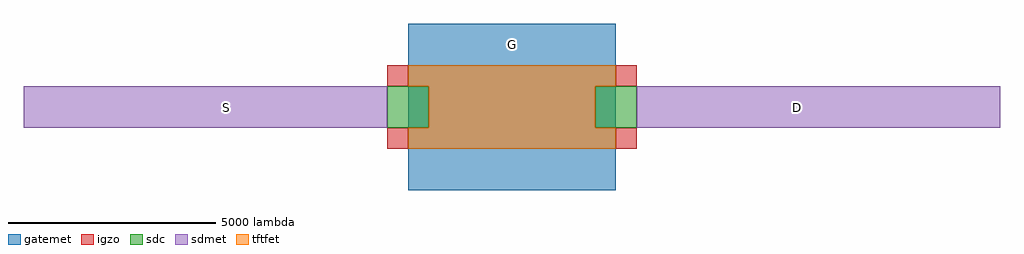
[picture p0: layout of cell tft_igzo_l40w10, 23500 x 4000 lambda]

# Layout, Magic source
magic
tech igzo_mmm_lab
<< igzo >>
rect -3000 500 -2500 1000
rect 2500 500 3000 1000
rect -3000 -1000 -2500 -500
rect 2500 -1000 3000 -500
<< tftfet >>
rect -2500 500 2500 1000
rect -2000 -500 2000 500
rect -2500 -1000 2500 -500
<< sdc >>
rect -3000 -500 -2000 500
rect 2000 -500 3000 500
<< sdmet >>
rect -11750 -500 -3000 500
rect 3000 -500 11750 500
<< gatemet >>
rect -2500 -2000 2500 2000
<< labels >>
rlabel sdmet s -6925 -50 -6825 50 4 S
port 3 nsew
rlabel sdmet s 6825 -50 6925 50 4 D
port 5 nsew
rlabel gatemet s -50 1450 50 1550 4 G
port 7 nsew
<< end >>
